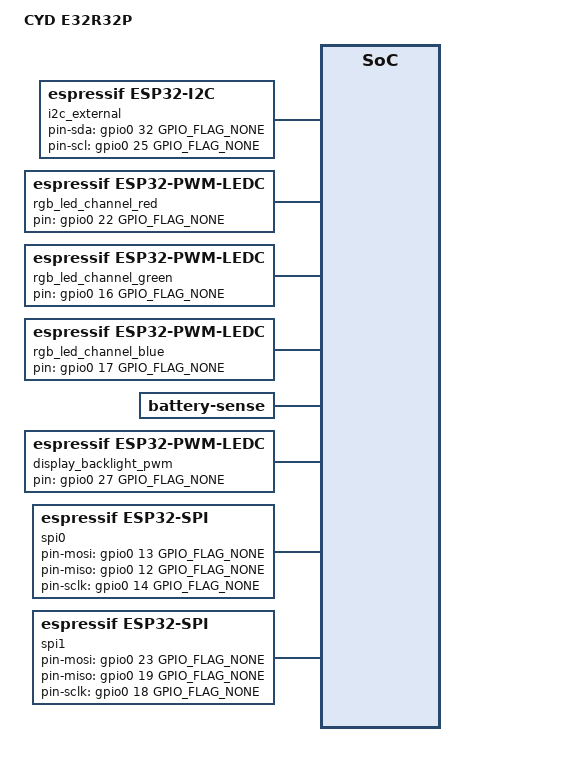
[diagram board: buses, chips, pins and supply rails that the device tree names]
/dts-v1/;

#include <tactility/bindings/root.h>
#include <tactility/bindings/battery_sense.h>
#include <tactility/bindings/esp32_adc_oneshot.h>
#include <tactility/bindings/esp32_wifi_pinned.h>
#include <tactility/bindings/esp32_gpio.h>
#include <tactility/bindings/esp32_i2c.h>
#include <tactility/bindings/esp32_spi.h>
#include <tactility/bindings/esp32_sdspi.h>
#include <tactility/bindings/esp32_pwm_ledc.h>
#include <tactility/bindings/pwm_backlight.h>
#include <tactility/bindings/rgb_led_pwm.h>
#include <bindings/st7789.h>
#include <bindings/xpt2046.h>

/ {
	compatible = "root";
	model = "CYD E32R32P";

	wifi0 {
		compatible = "espressif,esp32-wifi-pinned";
		status = "disabled";
	};

	gpio0 {
		compatible = "espressif,esp32-gpio";
		gpio-count = <40>;
	};

	i2c_external {
		compatible = "espressif,esp32-i2c";
		port = <I2C_NUM_0>;
		clock-frequency = <400000>;
		pin-sda = <&gpio0 32 GPIO_FLAG_NONE>;
		pin-scl = <&gpio0 25 GPIO_FLAG_NONE>;
	};

	adc0 {
		compatible = "espressif,esp32-adc-oneshot";
		unit-id = <ADC_UNIT_1>;
		channels = <ADC_CHANNEL_6 ADC_ATTEN_DB_12 ADC_BITWIDTH_DEFAULT>;
	};

	rgb_led_channel_red {
		compatible = "espressif,esp32-pwm-ledc";
		pin = <&gpio0 22 GPIO_FLAG_NONE>;
		period-ns = <500000>;
		ledc-timer = <0>;
		ledc-channel = <1>;
		inverted;
	};

	rgb_led_channel_green {
		compatible = "espressif,esp32-pwm-ledc";
		pin = <&gpio0 16 GPIO_FLAG_NONE>;
		period-ns = <500000>;
		ledc-timer = <0>;
		ledc-channel = <2>;
		inverted;
	};

	rgb_led_channel_blue {
		compatible = "espressif,esp32-pwm-ledc";
		pin = <&gpio0 17 GPIO_FLAG_NONE>;
		period-ns = <500000>;
		ledc-timer = <0>;
		ledc-channel = <3>;
		inverted;
	};

	rgb_led_pwm {
		compatible = "rgb-led-pwm";
		pwm-red = <&rgb_led_channel_red>;
		pwm-green = <&rgb_led_channel_green>;
		pwm-blue = <&rgb_led_channel_blue>;
		// Default is red, and we want to reset it to off by default
		default-color = <0 0 0>;
		enabled;
	};

	// Matches the deprecated HAL's old ChargeFromAdcVoltage config: adcMultiplier=2.11,
	// adcRefVoltage=3.3 (default), voltageMin/Max=3.2/4.2 (default, same as battery-sense's own
	// fixed curve - see TactilityKernel/source/drivers/battery_sense.cpp).
	battery-sense {
		compatible = "battery-sense";
		io-channel = <&adc0 0>;
		reference-voltage-mv = <3300>;
		multiplier = <2110>;
	};

	display_backlight_pwm {
		compatible = "espressif,esp32-pwm-ledc";
		pin = <&gpio0 27 GPIO_FLAG_NONE>;
		period-ns = <25000>;
		ledc-timer = <0>;
		ledc-channel = <0>;
	};

	display_backlight {
		compatible = "pwm-backlight";
		// Off by default so display power-on won't show the screen from before the last power loss.
		// The display backlight is turned on during the boot process.
		status = "disabled";
		pwm = <&display_backlight_pwm>;
	};

	spi0 {
		compatible = "espressif,esp32-spi";
		host = <SPI2_HOST>;
		cs-gpios = <&gpio0 15 GPIO_FLAG_NONE>, // Display
		            <&gpio0 33 GPIO_FLAG_NONE>; // Touch
		pin-mosi = <&gpio0 13 GPIO_FLAG_NONE>;
		pin-miso = <&gpio0 12 GPIO_FLAG_NONE>;
		pin-sclk = <&gpio0 14 GPIO_FLAG_NONE>;

		display@0 {
			compatible = "sitronix,st7789";
			horizontal-resolution = <240>;
			vertical-resolution = <320>;
			bgr-order;
			pixel-clock-hz = <40000000>;
			pin-dc = <&gpio0 2 GPIO_FLAG_NONE>;
			backlight = <&display_backlight>;
		};

		touch@1 {
			compatible = "xptek,xpt2046";
			x-max = <240>;
			y-max = <320>;
			mirror-x;
			mirror-y;
		};
	};

	spi1 {
		compatible = "espressif,esp32-spi";
		host = <SPI3_HOST>;
		cs-gpios = <&gpio0 5 GPIO_FLAG_NONE>;
		pin-mosi = <&gpio0 23 GPIO_FLAG_NONE>;
		pin-miso = <&gpio0 19 GPIO_FLAG_NONE>;
		pin-sclk = <&gpio0 18 GPIO_FLAG_NONE>;

		sdcard@0 {
			compatible = "espressif,esp32-sdspi";
			frequency-khz = <20000>;
		};
	};
};
